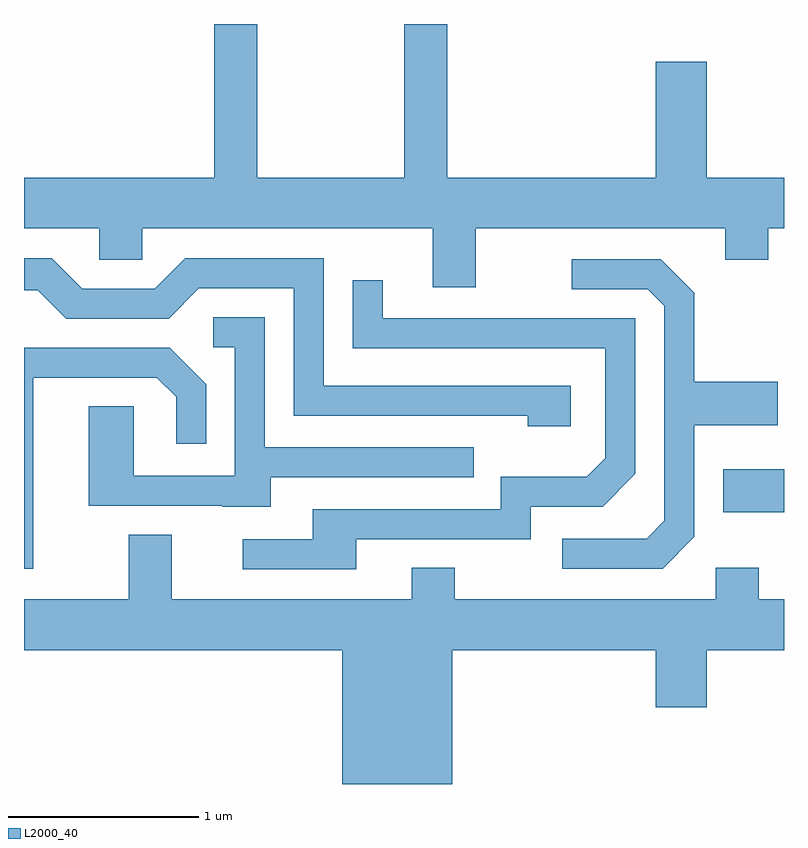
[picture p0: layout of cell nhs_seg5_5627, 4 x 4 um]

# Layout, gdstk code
import gdstk
lib = gdstk.Library(unit=1e-6, precision=1e-09)
def R(c, l, rs):  # rectangles x0, y0, x1, y1
    for r in rs: c.add(gdstk.rectangle(r[:2], r[2:], *l))
def P(c, l, *ps):  # polygons
    for p in ps: c.add(gdstk.Polygon(p, *l))
L2000_40 = (2000, 40)

nhs_seg5_5627 = lib.new_cell('nhs_seg5_5627')
R(nhs_seg5_5627, L2000_40, [(355.291,1477.501,355.611,1477.729)])
P(nhs_seg5_5627, L2000_40, [(353.989,1478.996),(355.301,1478.996),(355.301,1478.831),(355.529,1478.831),(355.529,1478.996),(355.611,1478.996),(355.611,1479.264),(355.204,1479.264),(355.204,1479.874),(354.936,1479.874),(354.936,1479.264),(353.839,1479.264),(353.839,1480.072),(353.611,1480.072),(353.611,1479.264),(352.839,1479.264),(352.839,1480.072),(352.611,1480.072),(352.611,1479.264),(351.611,1479.264),(351.611,1478.996),(352.006,1478.996),(352.006,1478.831),(352.234,1478.831),(352.234,1478.996),(353.761,1478.996),(353.761,1478.686),(353.989,1478.686)],
  [(354.489,1478.169),(353.189,1478.169),(353.189,1478.839),(352.459,1478.839),(352.299,1478.679),(351.917,1478.679),(351.757,1478.839),(351.611,1478.839),(351.611,1478.671),(351.684,1478.671),(351.834,1478.521),(352.372,1478.521),(352.532,1478.681),(353.031,1478.681),(353.031,1478.011),(354.261,1478.011),(354.261,1477.956),(354.489,1477.956)],
  [(355.139,1477.374),(355.139,1477.961),(355.579,1477.961),(355.579,1478.189),(355.139,1478.189),(355.139,1478.657),(354.962,1478.834),(354.493,1478.834),(354.493,1478.676),(354.894,1478.676),(354.981,1478.589),(354.981,1477.457),(354.889,1477.364),(354.443,1477.364),(354.443,1477.206),(354.972,1477.206)],
  [(353.359,1477.361),(354.279,1477.361),(354.279,1477.531),(354.657,1477.531),(354.829,1477.704),(354.829,1478.524),(353.499,1478.524),(353.499,1478.723),(353.341,1478.723),(353.341,1478.366),(354.671,1478.366),(354.671,1477.787),(354.574,1477.689),(354.121,1477.689),(354.121,1477.519),(353.131,1477.519),(353.131,1477.359),(352.763,1477.359),(352.763,1477.201),(353.359,1477.201)],
  [(352.909,1477.686),(353.978,1477.686),(353.978,1477.844),(352.879,1477.844),(352.879,1478.529),(352.608,1478.529),(352.608,1478.371),(352.721,1478.371),(352.721,1477.694),(352.189,1477.694),(352.189,1478.059),(351.951,1478.059),(351.951,1477.536),(352.655,1477.536),(352.655,1477.531),(352.909,1477.531)],
  [(351.659,1478.211),(352.309,1478.211),(352.411,1478.109),(352.411,1477.863),(352.569,1477.863),(352.569,1478.177),(352.377,1478.369),(351.611,1478.369),(351.611,1477.206),(351.659,1477.206)],
  [(353.864,1476.776),(354.936,1476.776),(354.936,1476.476),(355.204,1476.476),(355.204,1476.776),(355.611,1476.776),(355.611,1477.044),(355.479,1477.044),(355.479,1477.209),(355.251,1477.209),(355.251,1477.044),(353.879,1477.044),(353.879,1477.209),(353.651,1477.209),(353.651,1477.044),(352.389,1477.044),(352.389,1477.384),(352.161,1477.384),(352.161,1477.044),(351.611,1477.044),(351.611,1476.776),(353.286,1476.776),(353.286,1476.072),(353.864,1476.072)])

lib.write_gds('nhs_seg5_5627.gds')
